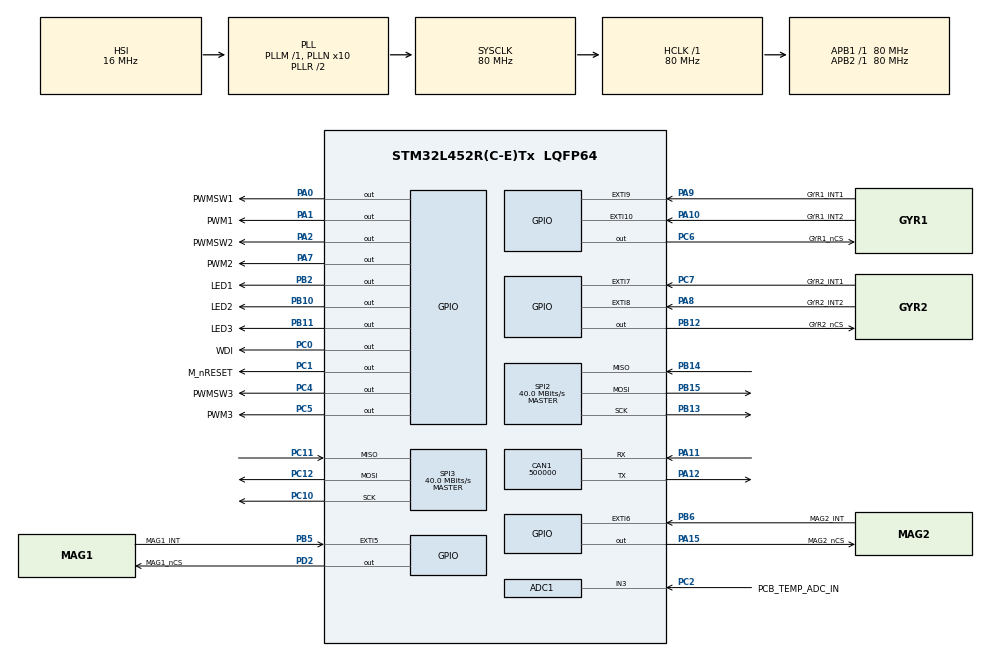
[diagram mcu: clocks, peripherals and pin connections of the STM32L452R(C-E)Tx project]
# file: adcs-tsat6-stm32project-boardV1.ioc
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ADC1.Channel-0\#ChannelRegularConversion=ADC_CHANNEL_3
ADC1.NbrOfConversionFlag=1
ADC1.OffsetNumber-0\#ChannelRegularConversion=ADC_OFFSET_NONE
ADC1.Rank-0\#ChannelRegularConversion=1
ADC1.SamplingTime-0\#ChannelRegularConversion=ADC_SAMPLETIME_2CYCLES_5
ADC1.master=1
CAN1.BS1=CAN_BS1_5TQ
CAN1.BS2=CAN_BS2_4TQ
CAN1.CalculateBaudRate=500000
CAN1.CalculateTimeBit=2000
CAN1.CalculateTimeQuantum=200.0
FREERTOS.Tasks01=defaultTask,24,128,StartDefaultTask,Default,NULL,Dynamic,NULL,NULL
Mcu.Family=STM32L4
Mcu.Name=STM32L452R(C-E)Tx
Mcu.Package=LQFP64
NVIC.CAN1_RX0_IRQn=true\:5\:0\:false\:false\:true\:true\:true\:true\:true
NVIC.EXTI9_5_IRQn=true\:5\:0\:false\:false\:true\:true\:true\:true\:true
NVIC.PriorityGroup=NVIC_PRIORITYGROUP_4
PA0.GPIO_Label=PWMSW1
PA0.Signal=GPIO_Output
PA1.GPIO_Label=PWM1
PA1.Signal=GPIO_Output
PA10.GPIO_Label=GYR1_INT2
PA10.Signal=GPXTI10
PA11.Mode=CAN_Activate
PA11.Signal=CAN1_RX
PA12.Mode=CAN_Activate
PA12.Signal=CAN1_TX
PA13\ (JTMS/SWDIO).Mode=Trace_Asynchronous_SW
PA13\ (JTMS/SWDIO).Signal=SYS_JTMS-SWDIO
PA14\ (JTCK/SWCLK).Mode=Trace_Asynchronous_SW
PA14\ (JTCK/SWCLK).Signal=SYS_JTCK-SWCLK
PA15\ (JTDI).GPIO_Label=MAG2_nCS
PA15\ (JTDI).PinState=GPIO_PIN_SET
PA15\ (JTDI).Signal=GPIO_Output
PA2.GPIO_Label=PWMSW2
PA2.Signal=GPIO_Output
PA7.GPIO_Label=PWM2
PA7.Signal=GPIO_Output
PA8.GPIO_Label=GYR2_INT2
PA8.Signal=GPXTI8
PA9.GPIO_Label=GYR1_INT1
PA9.Signal=GPXTI9
PB10.GPIO_Label=LED2
PB10.Signal=GPIO_Output
PB11.GPIO_Label=LED3
PB11.Signal=GPIO_Output
PB12.GPIO_Label=GYR2_nCS
PB12.PinState=GPIO_PIN_SET
PB12.Signal=GPIO_Output
PB13.Mode=Full_Duplex_Master
PB13.Signal=SPI2_SCK
PB14.Mode=Full_Duplex_Master
PB14.Signal=SPI2_MISO
PB15.Mode=Full_Duplex_Master
PB15.Signal=SPI2_MOSI
PB2.GPIO_Label=LED1
PB2.Signal=GPIO_Output
PB3\ (JTDO/TRACESWO).Mode=Trace_Asynchronous_SW
PB3\ (JTDO/TRACESWO).Signal=SYS_JTDO-SWO
PB5.GPIO_Label=MAG1_INT
PB5.Signal=GPXTI5
PB6.GPIO_Label=MAG2_INT
PB6.Signal=GPXTI6
PC0.GPIO_Label=WDI
PC0.Signal=GPIO_Output
PC1.GPIO_Label=M_nRESET
PC1.PinState=GPIO_PIN_SET
PC1.Signal=GPIO_Output
PC10.Mode=Full_Duplex_Master
PC10.Signal=SPI3_SCK
PC11.Mode=Full_Duplex_Master
PC11.Signal=SPI3_MISO
PC12.Mode=Full_Duplex_Master
PC12.Signal=SPI3_MOSI
PC2.GPIO_Label=PCB_TEMP_ADC_IN
PC2.Signal=ADCx_IN3
PC4.GPIO_Label=PWMSW3
PC4.Signal=GPIO_Output
PC5.GPIO_Label=PWM3
PC5.Signal=GPIO_Output
PC6.GPIO_Label=GYR1_nCS
PC6.PinState=GPIO_PIN_SET
PC6.Signal=GPIO_Output
PC7.GPIO_Label=GYR2_INT1
PC7.Signal=GPXTI7
PD2.GPIO_Label=MAG1_nCS
PD2.PinState=GPIO_PIN_SET
PD2.Signal=GPIO_Output
ProjectManager.HeapSize=0x200
ProjectManager.StackSize=0x400
ProjectManager.TargetToolchain=STM32CubeIDE
RCC.ADCFreq_Value=64000000
RCC.AHBFreq_Value=80000000
RCC.APB1Freq_Value=80000000
RCC.APB1TimFreq_Value=80000000
RCC.APB2Freq_Value=80000000
RCC.APB2TimFreq_Value=80000000
RCC.CortexFreq_Value=80000000
RCC.HCLKFreq_Value=80000000
RCC.HSE_VALUE=8000000
RCC.HSI48_VALUE=48000000
RCC.HSI_VALUE=16000000
RCC.LSE_VALUE=32768
RCC.MSI_VALUE=4000000
RCC.PLLN=10
RCC.PLLSourceVirtual=RCC_PLLSOURCE_HSI
RCC.SYSCLKFreq_VALUE=80000000
RCC.SYSCLKSource=RCC_SYSCLKSOURCE_PLLCLK
RCC.USBFreq_Value=64000000
RCC.VCOOutputFreq_Value=160000000
SH.ADCx_IN3.0=ADC1_IN3,IN3-Single-Ended
SPI2.CalculateBaudRate=40.0 MBits/s
SPI2.DataSize=SPI_DATASIZE_8BIT
SPI2.Direction=SPI_DIRECTION_2LINES
SPI2.Mode=SPI_MODE_MASTER
SPI2.VirtualType=VM_MASTER
SPI3.CalculateBaudRate=40.0 MBits/s
SPI3.DataSize=SPI_DATASIZE_8BIT
SPI3.Direction=SPI_DIRECTION_2LINES
SPI3.Mode=SPI_MODE_MASTER
SPI3.VirtualType=VM_MASTER
TIM16.Period=5000-1
TIM16.Prescaler=80-1
VP_FREERTOS_VS_CMSIS_V2.Mode=CMSIS_V2
VP_TIM16_VS_ClockSourceINT.Mode=Enable_Timer
board=custom

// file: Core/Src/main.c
/* USER CODE BEGIN Header */
/**
  ******************************************************************************
  * @file           : main.c
  * @brief          : Main program body
  ******************************************************************************
  * @attention
  *
  * Copyright (c) 2023 STMicroelectronics.
  * All rights reserved.
  *
  * This software is licensed under terms that can be found in the LICENSE file
  * in the root directory of this software component.
  * If no LICENSE file comes with this software, it is provided AS-IS.
  *
  ******************************************************************************
  */
/* USER CODE END Header */
#include "main.h"
#include "cmsis_os.h"

/* USER CODE BEGIN Includes */
#include <stdio.h>
#include <stdlib.h>

#include "tuk/tuk.h"
#include "command_handling.h"

#include "LEDs_driver.h"
#include "MAX6822_driver.h"
#include "Magnetorquers_driver.h"
#include "GYRO_A3G4250DTR_driver.h"
#include "magnetometer_driver.h"

/* USER CODE END Includes */

ADC_HandleTypeDef hadc1;

CAN_HandleTypeDef hcan1;

SPI_HandleTypeDef hspi2;
SPI_HandleTypeDef hspi3;

TIM_HandleTypeDef htim16;

/* Definitions for defaultTask */
osThreadId_t defaultTaskHandle;
const osThreadAttr_t defaultTask_attributes = {
  .name = "defaultTask",
  .stack_size = 128 * 4,
  .priority = (osPriority_t) osPriorityNormal,
};

void SystemClock_Config(void);
static void MX_GPIO_Init(void);
static void MX_CAN1_Init(void);
static void MX_SPI2_Init(void);
static void MX_ADC1_Init(void);
static void MX_SPI3_Init(void);
static void MX_TIM16_Init(void);
void StartDefaultTask(void *argument);

int main(void)
{

  /* MCU Configuration--------------------------------------------------------*/

  /* Reset of all peripherals, Initializes the Flash interface and the Systick. */
  HAL_Init();

  /* Configure the system clock */
  SystemClock_Config();

  /* Initialize all configured peripherals */
  MX_GPIO_Init();
  MX_CAN1_Init();
  MX_SPI2_Init();
  MX_ADC1_Init();
  MX_SPI3_Init();
  MX_TIM16_Init();
  /* USER CODE BEGIN 2 */
  MAX6822_Init();

  LEDs_Init();

  GYRO_Init();

  MAG_Init();

  //MAG_ProductID();
  printf("Hello\n");

  float exponentialFilter (float curr, float prev, float alpha){
	  return alpha*curr + (1.0f - alpha) * prev;
  }

  int16_t gyroData[3] = {0};
  float gyroDPS[3] = {0,0};

  int16_t magData[3] = {0};
  float magTesla[3] = {0.0};

  float magTeslaX = 0.0f;
  float magTeslaY = 0.0f;
  float magTeslaZ = 0.0f;

  float prevX = 0.0f;
  float prevY = 0.0f;
  float prevZ = 0.0f;

  MAG_ReadMagneticField(magData);
  MAG_ConvertToTeslas(magData, magTesla);

  prevX = magTesla[0];
  prevY = magTesla[1];
  prevZ = magTesla[2];

  magTeslaX = prevX;
  magTeslaY = prevY;
  magTeslaZ = prevZ;

  float alpha = 0.2f;

  bool readingMag = true;
  bool readingGyro = false;

  int count = 0 ;

//	  while(readingMag == 1){
//
//	  MAG_ReadMagneticField(magData);
// 	  MAG_ConvertToTeslas(magData, magTesla);
//
//	  float prevX = magTesla[0];
//	  float prevY = magTesla[1];
//	  float prevZ = magTesla[2];
//
//	  magTesla[0] = exponentialFilter(prevX,magTeslaX,alpha);
//	  magTesla[1] = exponentialFilter(prevY,magTeslaY,alpha);
//	  magTesla[2] = exponentialFilter(prevZ,magTeslaZ,alpha);
//
//
//	   printf("Magnetometer X: %.9f\n", magTeslaX);
//	   printf("Magnetometer Y: %.9f\n", magTeslaY);
//	   printf("Magnetometer Z: %.9f\n", magTeslaZ);
//
//	   count++;
//	   printf("Count: %d\n", count);

//	  HAL_Delay(1000);

//	  }
//
//	  while (readingGyro == 1){
//		  //GYRO_ReadAngRate(gyroData);
//		  //GYRO_ConvertToDPS(gyroData, gyroDPS);
//	  }
//

  Magnetorquers_Init();

  /* USER CODE END 2 */

  /* Init scheduler */
  osKernelInitialize();

  /* Create the thread(s) */
  /* creation of defaultTask */
  defaultTaskHandle = osThreadNew(StartDefaultTask, NULL, &defaultTask_attributes);

  /* USER CODE BEGIN RTOS_THREADS */
  /* add threads, ... */
  const CANWrapper_InitTypeDef cw_init = {
  		.node_id = NODE_ADCS,    // your subsystem's unique ID in the CAN network.
  		.message_callback = &On_CAN_Message_Ready, // called when a message is received and ready to be handled.
  		.error_callback = &On_CAN_Error      // called when a communication error occurs.
  };
  CANWrapper_CAN_Start(&hcan1);
  CANWrapper_Init(&cw_init);
  /* USER CODE END RTOS_THREADS */

  /* Start scheduler */
  osKernelStart();

  /* We should never get here as control is now taken by the scheduler */
  /* Infinite loop */
  while (1)
  {

    /* USER CODE BEGIN 3 */
  }

error:
  exit(1);
  /* USER CODE END 3 */
}

void SystemClock_Config(void)
{
  RCC_OscInitTypeDef RCC_OscInitStruct = {0};
  RCC_ClkInitTypeDef RCC_ClkInitStruct = {0};

  /** Configure the main internal regulator output voltage
  */
  if (HAL_PWREx_ControlVoltageScaling(PWR_REGULATOR_VOLTAGE_SCALE1) != HAL_OK)
  {
    Error_Handler();
  }

  /** Initializes the RCC Oscillators according to the specified parameters
  * in the RCC_OscInitTypeDef structure.
  */
  RCC_OscInitStruct.OscillatorType = RCC_OSCILLATORTYPE_HSI;
  RCC_OscInitStruct.HSIState = RCC_HSI_ON;
  RCC_OscInitStruct.HSICalibrationValue = 64;
  RCC_OscInitStruct.PLL.PLLState = RCC_PLL_ON;
  RCC_OscInitStruct.PLL.PLLSource = RCC_PLLSOURCE_HSI;
  RCC_OscInitStruct.PLL.PLLM = 1;
  RCC_OscInitStruct.PLL.PLLN = 10;
  RCC_OscInitStruct.PLL.PLLP = RCC_PLLP_DIV7;
  RCC_OscInitStruct.PLL.PLLQ = RCC_PLLQ_DIV2;
  RCC_OscInitStruct.PLL.PLLR = RCC_PLLR_DIV2;
  if (HAL_RCC_OscConfig(&RCC_OscInitStruct) != HAL_OK)
  {
    Error_Handler();
  }

  /** Initializes the CPU, AHB and APB buses clocks
  */
  RCC_ClkInitStruct.ClockType = RCC_CLOCKTYPE_HCLK|RCC_CLOCKTYPE_SYSCLK
                              |RCC_CLOCKTYPE_PCLK1|RCC_CLOCKTYPE_PCLK2;
  RCC_ClkInitStruct.SYSCLKSource = RCC_SYSCLKSOURCE_PLLCLK;
  RCC_ClkInitStruct.AHBCLKDivider = RCC_SYSCLK_DIV1;
  RCC_ClkInitStruct.APB1CLKDivider = RCC_HCLK_DIV1;
  RCC_ClkInitStruct.APB2CLKDivider = RCC_HCLK_DIV1;

  if (HAL_RCC_ClockConfig(&RCC_ClkInitStruct, FLASH_LATENCY_4) != HAL_OK)
  {
    Error_Handler();
  }
}

static void MX_ADC1_Init(void)
{

  ADC_ChannelConfTypeDef sConfig = {0};

  /** Common config
  */
  hadc1.Instance = ADC1;
  hadc1.Init.ClockPrescaler = ADC_CLOCK_ASYNC_DIV1;
  hadc1.Init.Resolution = ADC_RESOLUTION_12B;
  hadc1.Init.DataAlign = ADC_DATAALIGN_RIGHT;
  hadc1.Init.ScanConvMode = ADC_SCAN_DISABLE;
  hadc1.Init.EOCSelection = ADC_EOC_SINGLE_CONV;
  hadc1.Init.LowPowerAutoWait = DISABLE;
  hadc1.Init.ContinuousConvMode = DISABLE;
  hadc1.Init.NbrOfConversion = 1;
  hadc1.Init.DiscontinuousConvMode = DISABLE;
  hadc1.Init.ExternalTrigConv = ADC_SOFTWARE_START;
  hadc1.Init.ExternalTrigConvEdge = ADC_EXTERNALTRIGCONVEDGE_NONE;
  hadc1.Init.DMAContinuousRequests = DISABLE;
  hadc1.Init.Overrun = ADC_OVR_DATA_PRESERVED;
  hadc1.Init.OversamplingMode = DISABLE;
  if (HAL_ADC_Init(&hadc1) != HAL_OK)
  {
    Error_Handler();
  }

  /** Configure Regular Channel
  */
  sConfig.Channel = ADC_CHANNEL_3;
  sConfig.Rank = ADC_REGULAR_RANK_1;
  sConfig.SamplingTime = ADC_SAMPLETIME_2CYCLES_5;
  sConfig.SingleDiff = ADC_SINGLE_ENDED;
  sConfig.OffsetNumber = ADC_OFFSET_NONE;
  sConfig.Offset = 0;
  if (HAL_ADC_ConfigChannel(&hadc1, &sConfig) != HAL_OK)
  {
    Error_Handler();
  }

}

static void MX_CAN1_Init(void)
{

  hcan1.Instance = CAN1;
  hcan1.Init.Prescaler = 16;
  hcan1.Init.Mode = CAN_MODE_NORMAL;
  hcan1.Init.SyncJumpWidth = CAN_SJW_1TQ;
  hcan1.Init.TimeSeg1 = CAN_BS1_5TQ;
  hcan1.Init.TimeSeg2 = CAN_BS2_4TQ;
  hcan1.Init.TimeTriggeredMode = DISABLE;
  hcan1.Init.AutoBusOff = DISABLE;
  hcan1.Init.AutoWakeUp = DISABLE;
  hcan1.Init.AutoRetransmission = DISABLE;
  hcan1.Init.ReceiveFifoLocked = DISABLE;
  hcan1.Init.TransmitFifoPriority = DISABLE;
  if (HAL_CAN_Init(&hcan1) != HAL_OK)
  {
    Error_Handler();
  }

}

static void MX_SPI2_Init(void)
{

  /* SPI2 parameter configuration*/
  hspi2.Instance = SPI2;
  hspi2.Init.Mode = SPI_MODE_MASTER;
  hspi2.Init.Direction = SPI_DIRECTION_2LINES;
  hspi2.Init.DataSize = SPI_DATASIZE_8BIT;
  hspi2.Init.CLKPolarity = SPI_POLARITY_LOW;
  hspi2.Init.CLKPhase = SPI_PHASE_1EDGE;
  hspi2.Init.NSS = SPI_NSS_SOFT;
  hspi2.Init.BaudRatePrescaler = SPI_BAUDRATEPRESCALER_2;
  hspi2.Init.FirstBit = SPI_FIRSTBIT_MSB;
  hspi2.Init.TIMode = SPI_TIMODE_DISABLE;
  hspi2.Init.CRCCalculation = SPI_CRCCALCULATION_DISABLE;
  hspi2.Init.CRCPolynomial = 7;
  hspi2.Init.CRCLength = SPI_CRC_LENGTH_DATASIZE;
  hspi2.Init.NSSPMode = SPI_NSS_PULSE_ENABLE;
  if (HAL_SPI_Init(&hspi2) != HAL_OK)
  {
    Error_Handler();
  }

}

static void MX_SPI3_Init(void)
{

  /* SPI3 parameter configuration*/
  hspi3.Instance = SPI3;
  hspi3.Init.Mode = SPI_MODE_MASTER;
  hspi3.Init.Direction = SPI_DIRECTION_2LINES;
  hspi3.Init.DataSize = SPI_DATASIZE_8BIT;
  hspi3.Init.CLKPolarity = SPI_POLARITY_LOW;
  hspi3.Init.CLKPhase = SPI_PHASE_1EDGE;
  hspi3.Init.NSS = SPI_NSS_SOFT;
  hspi3.Init.BaudRatePrescaler = SPI_BAUDRATEPRESCALER_2;
  hspi3.Init.FirstBit = SPI_FIRSTBIT_MSB;
  hspi3.Init.TIMode = SPI_TIMODE_DISABLE;
  hspi3.Init.CRCCalculation = SPI_CRCCALCULATION_DISABLE;
  hspi3.Init.CRCPolynomial = 7;
  hspi3.Init.CRCLength = SPI_CRC_LENGTH_DATASIZE;
  hspi3.Init.NSSPMode = SPI_NSS_PULSE_ENABLE;
  if (HAL_SPI_Init(&hspi3) != HAL_OK)
  {
    Error_Handler();
  }

}

static void MX_TIM16_Init(void)
{

  htim16.Instance = TIM16;
  htim16.Init.Prescaler = 80-1;
  htim16.Init.CounterMode = TIM_COUNTERMODE_UP;
  htim16.Init.Period = 5000-1;
  htim16.Init.ClockDivision = TIM_CLOCKDIVISION_DIV1;
  htim16.Init.RepetitionCounter = 0;
  htim16.Init.AutoReloadPreload = TIM_AUTORELOAD_PRELOAD_DISABLE;
  if (HAL_TIM_Base_Init(&htim16) != HAL_OK)
  {
    Error_Handler();
  }

}

static void MX_GPIO_Init(void)
{
  GPIO_InitTypeDef GPIO_InitStruct = {0};

  /* GPIO Ports Clock Enable */
  __HAL_RCC_GPIOC_CLK_ENABLE();
  __HAL_RCC_GPIOA_CLK_ENABLE();
  __HAL_RCC_GPIOB_CLK_ENABLE();
  __HAL_RCC_GPIOD_CLK_ENABLE();

  /*Configure GPIO pin Output Level */
  HAL_GPIO_WritePin(GPIOC, WDI_Pin|PWMSW3_Pin|PWM3_Pin, GPIO_PIN_RESET);

  /*Configure GPIO pin Output Level */
  HAL_GPIO_WritePin(GPIOC, M_nRESET_Pin|GYR1_nCS_Pin, GPIO_PIN_SET);

  /*Configure GPIO pin Output Level */
  HAL_GPIO_WritePin(GPIOA, PWMSW1_Pin|PWM1_Pin|PWMSW2_Pin|PWM2_Pin, GPIO_PIN_RESET);

  /*Configure GPIO pin Output Level */
  HAL_GPIO_WritePin(GPIOB, LED1_Pin|LED2_Pin|LED3_Pin, GPIO_PIN_RESET);

  /*Configure GPIO pin Output Level */
  HAL_GPIO_WritePin(GYR2_nCS_GPIO_Port, GYR2_nCS_Pin, GPIO_PIN_SET);

  /*Configure GPIO pin Output Level */
  HAL_GPIO_WritePin(MAG2_nCS_GPIO_Port, MAG2_nCS_Pin, GPIO_PIN_SET);

  /*Configure GPIO pin Output Level */
  HAL_GPIO_WritePin(MAG1_nCS_GPIO_Port, MAG1_nCS_Pin, GPIO_PIN_SET);

  /*Configure GPIO pins : WDI_Pin M_nRESET_Pin PWMSW3_Pin PWM3_Pin
                           GYR1_nCS_Pin */
  GPIO_InitStruct.Pin = WDI_Pin|M_nRESET_Pin|PWMSW3_Pin|PWM3_Pin
                          |GYR1_nCS_Pin;
  GPIO_InitStruct.Mode = GPIO_MODE_OUTPUT_PP;
  GPIO_InitStruct.Pull = GPIO_NOPULL;
  GPIO_InitStruct.Speed = GPIO_SPEED_FREQ_LOW;
  HAL_GPIO_Init(GPIOC, &GPIO_InitStruct);

  /*Configure GPIO pins : PWMSW1_Pin PWM1_Pin PWMSW2_Pin PWM2_Pin
                           MAG2_nCS_Pin */
  GPIO_InitStruct.Pin = PWMSW1_Pin|PWM1_Pin|PWMSW2_Pin|PWM2_Pin
                          |MAG2_nCS_Pin;
  GPIO_InitStruct.Mode = GPIO_MODE_OUTPUT_PP;
  GPIO_InitStruct.Pull = GPIO_NOPULL;
  GPIO_InitStruct.Speed = GPIO_SPEED_FREQ_LOW;
  HAL_GPIO_Init(GPIOA, &GPIO_InitStruct);

  /*Configure GPIO pins : LED1_Pin LED2_Pin LED3_Pin GYR2_nCS_Pin */
  GPIO_InitStruct.Pin = LED1_Pin|LED2_Pin|LED3_Pin|GYR2_nCS_Pin;
  GPIO_InitStruct.Mode = GPIO_MODE_OUTPUT_PP;
  GPIO_InitStruct.Pull = GPIO_NOPULL;
  GPIO_InitStruct.Speed = GPIO_SPEED_FREQ_LOW;
  HAL_GPIO_Init(GPIOB, &GPIO_InitStruct);

  /*Configure GPIO pin : GYR2_INT1_Pin */
  GPIO_InitStruct.Pin = GYR2_INT1_Pin;
  GPIO_InitStruct.Mode = GPIO_MODE_IT_RISING;
  GPIO_InitStruct.Pull = GPIO_NOPULL;
  HAL_GPIO_Init(GYR2_INT1_GPIO_Port, &GPIO_InitStruct);

  /*Configure GPIO pins : GYR2_INT2_Pin GYR1_INT1_Pin GYR1_INT2_Pin */
  GPIO_InitStruct.Pin = GYR2_INT2_Pin|GYR1_INT1_Pin|GYR1_INT2_Pin;
  GPIO_InitStruct.Mode = GPIO_MODE_IT_RISING;
  GPIO_InitStruct.Pull = GPIO_NOPULL;
  HAL_GPIO_Init(GPIOA, &GPIO_InitStruct);

  /*Configure GPIO pin : MAG1_nCS_Pin */
  GPIO_InitStruct.Pin = MAG1_nCS_Pin;
  GPIO_InitStruct.Mode = GPIO_MODE_OUTPUT_PP;
  GPIO_InitStruct.Pull = GPIO_NOPULL;
  GPIO_InitStruct.Speed = GPIO_SPEED_FREQ_LOW;
  HAL_GPIO_Init(MAG1_nCS_GPIO_Port, &GPIO_InitStruct);

  /*Configure GPIO pins : MAG1_INT_Pin MAG2_INT_Pin */
  GPIO_InitStruct.Pin = MAG1_INT_Pin|MAG2_INT_Pin;
  GPIO_InitStruct.Mode = GPIO_MODE_IT_RISING;
  GPIO_InitStruct.Pull = GPIO_NOPULL;
  HAL_GPIO_Init(GPIOB, &GPIO_InitStruct);

  /* EXTI interrupt init*/
  HAL_NVIC_SetPriority(EXTI9_5_IRQn, 5, 0);
  HAL_NVIC_EnableIRQ(EXTI9_5_IRQn);

}

/* USER CODE BEGIN 4 */
//int _write(int file, char *ptr, int len)
//{
//  (void)file;
//  int DataIdx;
//
//  for (DataIdx = 0; DataIdx < len; DataIdx++)
//  {
//    ITM_SendChar(*ptr++);
//  }
//  return len;
//}

//NEW
void magnetorquer_update(uint8_t id, uint8_t direction)
{
    switch(id)
    {
        case 0:

        	if (direction == 1)
        	{

        		HAL_GPIO_WritePin(GPIOA, GPIO_PIN_0, GPIO_PIN_RESET);
        		HAL_GPIO_WritePin(GPIOA, GPIO_PIN_1, GPIO_PIN_SET);
        	}

        	else
        	{
        		HAL_GPIO_WritePin(GPIOA, GPIO_PIN_0, GPIO_PIN_SET);
        		HAL_GPIO_WritePin(GPIOA, GPIO_PIN_1, GPIO_PIN_RESET);
        	}
        	break;

        case 1:
            if (direction == 1)
            {
                HAL_GPIO_WritePin(GPIOA, GPIO_PIN_2, GPIO_PIN_RESET);
                HAL_GPIO_WritePin(GPIOA, GPIO_PIN_7, GPIO_PIN_SET);
            }

            else
            {
                HAL_GPIO_WritePin(GPIOA, GPIO_PIN_2, GPIO_PIN_SET);
                HAL_GPIO_WritePin(GPIOA, GPIO_PIN_7, GPIO_PIN_RESET);
            }
            break;

        case 2:
             if (direction == 1)
             {
                 HAL_GPIO_WritePin(GPIOC, GPIO_PIN_4, GPIO_PIN_RESET);
                 HAL_GPIO_WritePin(GPIOC, GPIO_PIN_5, GPIO_PIN_SET);
             }

             else
             {
                 HAL_GPIO_WritePin(GPIOC, GPIO_PIN_4, GPIO_PIN_SET);
                 HAL_GPIO_WritePin(GPIOC, GPIO_PIN_5, GPIO_PIN_RESET);

             }
             break;
    }

}

/* USER CODE END 4 */

void StartDefaultTask(void *argument)
{
  /* USER CODE BEGIN 5 */
  /* Infinite loop */

	float exponentialFilter (float curr, float prev, float alpha){
		  	  return alpha*curr + (1.0f - alpha) * prev;
		    }

	int16_t gyroData[3] = {0};
	float gyroDPS[3] = {0,0};

	int16_t magData[3] = {0};
	float magTesla[3] = {0.0};

	float magTeslaX = 0.0f;
	float magTeslaY = 0.0f;
	float magTeslaZ = 0.0f;

	float prevX = 0.0f;
	float prevY = 0.0f;
	float prevZ = 0.0f;

	MAG_ReadMagneticField(magData);
	MAG_ConvertToTeslas(magData, magTesla);

	prevX = magTesla[0];
	prevY = magTesla[1];
	prevZ = magTesla[2];

	magTeslaX = prevX;
	magTeslaY = prevY;
	magTeslaZ = prevZ;

	float alpha = 0.2f;

	bool readingMag = true;
	bool readingGyro = false;

	uint8_t count = 0 ;

  for(;;)
  {

	  	  MAG_ReadMagneticField(magData);
	   	  MAG_ConvertToTeslas(magData, magTesla);

	  	  float prevX = magTesla[0];
	  	  float prevY = magTesla[1];
	  	  float prevZ = magTesla[2];

	  	  magTesla[0] = exponentialFilter(prevX,magTeslaX,alpha);
	  	  magTesla[1] = exponentialFilter(prevY,magTeslaY,alpha);
	  	  magTesla[2] = exponentialFilter(prevZ,magTeslaZ,alpha);

//	  	   printf("Magnetometer X: %.9f\n", magTeslaX);
//	  	   printf("Magnetometer Y: %.9f\n", magTeslaY);
//	  	   printf("Magnetometer Z: %.9f\n", magTeslaZ);
//
	  	   count++;
//	  	   printf("Count: %d\n", count);
//

    uint8_t msg_body[CAN_MAX_BODY_SIZE] = {0};

	uint8_t tel_key_0 = CREATE_TELEMETRY_KEY(TEL_MAGNETIC_FIELD, NODE_ADCS);
	SET_MSG_DATA(msg_body, 0, uint8_t, tel_key_0);
	SET_MSG_DATA(msg_body, 1, uint8_t, count);
	SET_MSG_DATA(msg_body, 2, uint8_t, 0); // packet #
	SET_MSG_DATA(msg_body, 3, float, magTesla[0]);
	CANWrapper_Transmit(&hcan1, NODE_CDH, CMD_CDH_PROCESS_TELEMETRY_REPORT, msg_body);

	uint8_t tel_key_1 = CREATE_TELEMETRY_KEY(TEL_MAGNETIC_FIELD, NODE_ADCS);
	SET_MSG_DATA(msg_body, 0, uint8_t, tel_key_1);
	SET_MSG_DATA(msg_body, 1, uint8_t, count);
	SET_MSG_DATA(msg_body, 2, uint8_t, 1); // packet #
	SET_MSG_DATA(msg_body, 3, float, magTesla[1]);
	CANWrapper_Transmit(&hcan1, NODE_CDH, CMD_CDH_PROCESS_TELEMETRY_REPORT, msg_body);

	uint8_t tel_key_2 = CREATE_TELEMETRY_KEY(TEL_MAGNETIC_FIELD, NODE_ADCS);
	SET_MSG_DATA(msg_body, 0, uint8_t, tel_key_2);
	SET_MSG_DATA(msg_body, 1, uint8_t, count);
	SET_MSG_DATA(msg_body, 2, uint8_t, 2); // packet #
	SET_MSG_DATA(msg_body, 3, float, magTesla[2]);

	// send the message.
	CANWrapper_Transmit(&hcan1, NODE_CDH, CMD_CDH_PROCESS_TELEMETRY_REPORT, msg_body);
	osDelay(1000);
  }
  /* USER CODE END 5 */
}

void Error_Handler(void)
{
  __disable_irq();
  while (1)
  {
  }
}
